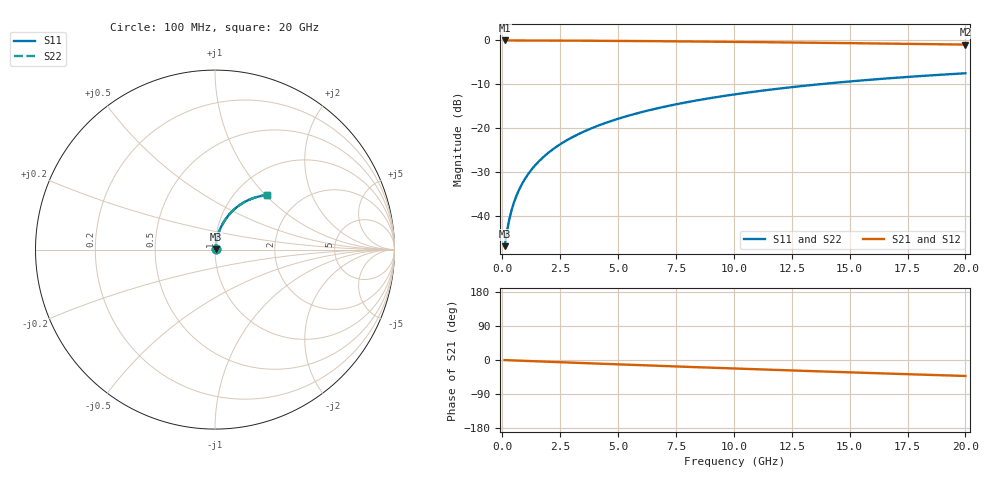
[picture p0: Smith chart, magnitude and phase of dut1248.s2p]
! Touchstone file exported from HFSS 2026.1.0
!  File:  C:/ffzhzh/LocalFiles/Ansys_Project_Files/temp_train_TMRDL_1248_1783163774_43440.aedt
!  Generated:  07:17:26 PM Jul  4, 2026
!  Design:  TMRDL
!  Project:  temp_train_TMRDL_1248_1783163774_43440
! Variables:
!  h_bsmrdl = 2um
!  h_ox = 20um
!  h_rdl = 5um
!  h_sub = 80um
!  h_tmrdl = 4.61um
!  h_tsv = 80um
!  h_via = 3um
!  l_bsmrdl = 300um
!  l_sub = 1005.44um
!  l_tmrdl = 605.44um
!  m_sub = 200um
!  pitch = 40.2um
!  r_tsv = 6um
!  s_tmrdl = 10um
!  w_bsmrdl = 18um
!  w_sub = 500um
!  w_tmrdl = 13.47um
!  x_tsv_center1 = 612.175um
!  x_tsv_center2 = 930.175um
!  x_tsv_center3 = 1549.085um
!  x_tsv_center4 = 1867.085um
!  x_tsv_center5 = 2485.995um
!  x_tsv_center6 = 2803.995um
# GHz S MA R 50.000000
! Terminal data exported
! Port[1] = TM_RDL1_1_T1
! Port[2] = TM_RDL1_1_T2
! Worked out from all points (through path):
!   200 points, 100 MHz to 20 GHz, reference 50 ohm
!   highest |S21| = -0.03 dB at 100 MHz (marker M1); lowest = -1.0 dB at 20 GHz (marker M2)
!   group delay of S21, straight-line fit = 5.85 ps
!   lowest |S11| = -47.0 dB at 100 MHz (marker M3), VSWR 1.01, Z = 50.4 + j0.277 ohm
!   |S11| at or under -10 dB: start of sweep to 13.75 GHz
!   |S22| runs from -47.0 to -7.5 dB; largest |S21 - S12| = 3.1e-15
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0.1  0.004474 37.9  0.9965 -0.2  0.9965 -0.2  0.004474 37.9
! Gamma 0 0 0 0
! Port Impedance 50 0 50 0
0.2  0.006567 56.3  0.9964 -0.5  0.9964 -0.5  0.006567 56.3
0.3  0.008979 64.9  0.9963 -0.7  0.9963 -0.7  0.008979 64.9
0.4  0.01148 69.7  0.9961 -1.0  0.9961 -1.0  0.01148 69.7
0.5  0.01401 72.6  0.996 -1.2  0.996 -1.2  0.014 72.6
0.6  0.01654 74.6  0.9959 -1.4  0.9959 -1.4  0.01654 74.6
0.8  0.02163 77.1  0.9957 -1.9  0.9957 -1.9  0.02163 77.1
1.1  0.02929 78.9  0.9953 -2.6  0.9953 -2.6  0.02929 79.0
1.5  0.03955 79.9  0.9948 -3.5  0.9948 -3.5  0.03955 79.9
1.8  0.04723 80.1  0.9943 -4.2  0.9943 -4.2  0.04723 80.1
2.1  0.05491 80.0  0.9937 -4.9  0.9937 -4.9  0.05491 80.0
2.7  0.07018 79.4  0.9924 -6.3  0.9924 -6.3  0.07018 79.4
3.5  0.09033 78.2  0.9902 -8.1  0.9902 -8.1  0.09033 78.2
4.2  0.1077 76.9  0.9879 -9.7  0.9879 -9.7  0.1077 76.9
5  0.1272 75.3  0.9849 -11.5  0.9849 -11.5  0.1272 75.3
5.9  0.1488 73.5  0.9812 -13.5  0.9812 -13.5  0.1488 73.5
6.8  0.1699 71.7  0.9771 -15.5  0.9771 -15.5  0.1699 71.7
8.3  0.2039 68.6  0.9696 -18.8  0.9696 -18.8  0.2039 68.6
10.1  0.2431 65.0  0.9597 -22.6  0.9597 -22.6  0.2431 65.0
13.4  0.3095 58.4  0.9393 -29.4  0.9393 -29.4  0.3095 58.4
16.7  0.3688 52.1  0.917 -35.9  0.917 -35.9  0.3688 52.2
20  0.4207 46.1  0.8942 -42.1  0.8942 -42.1  0.4207 46.1
